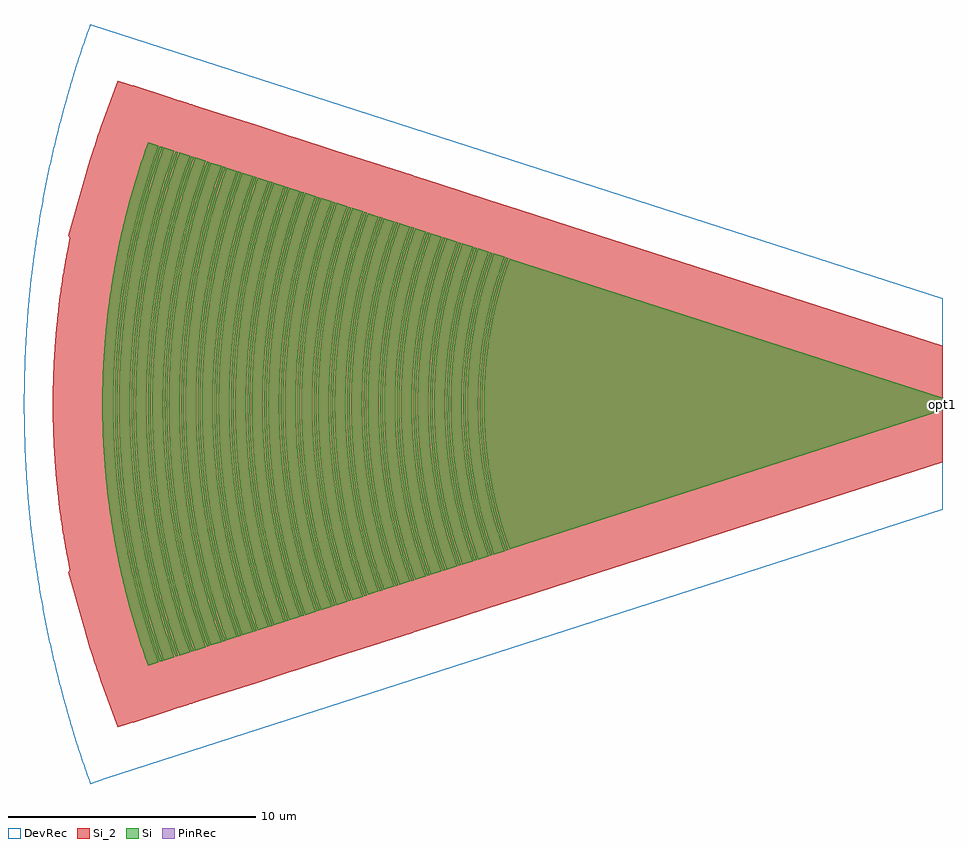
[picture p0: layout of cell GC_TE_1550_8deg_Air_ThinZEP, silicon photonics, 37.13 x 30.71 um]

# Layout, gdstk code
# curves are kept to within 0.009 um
import gdstk
lib = gdstk.Library(unit=1e-6, precision=1e-09)
def P(c, l, *ps):  # polygons
    for p in ps: c.add(gdstk.Polygon(p, *l))
Si = (1, 0)
Si_2 = (1, 2)
PinRec = (1, 10)
DevRec = (68, 0)

gc_te_1550_8deg_air_thin = lib.new_cell('GC_TE_1550_8deg_Air_ThinZEP')
P(gc_te_1550_8deg_air_thin, Si, [(-17.501,-5.877),(-17.778,-5.062),(-17.99,-4.323),(-18.144,-3.687),(-18.273,-3.046),(-18.388,-2.323),(-18.479,-1.52),(-18.527,-0.828),(-18.547,-0.058),(-18.532,0.713),(-18.486,1.443),(-18.388,2.323),(-18.273,3.046),(-18.144,3.687),(-17.99,4.323),(-17.778,5.062),(-17.501,5.877),(0,0.25),(0,-0.25)],
  [(-17.661,-5.928),(-17.927,-5.145),(-18.133,-4.437),(-18.316,-3.682),(-18.454,-2.983),(-18.559,-2.306),(-18.649,-1.495),(-18.694,-0.836),(-18.714,-0.097),(-18.705,0.564),(-18.659,1.378),(-18.584,2.113),(-18.454,2.983),(-18.316,3.682),(-18.133,4.437),(-17.927,5.145),(-17.661,5.928),(-17.545,5.891),(-17.823,5.073),(-18.045,4.295),(-18.213,3.583),(-18.358,2.824),(-18.459,2.137),(-18.535,1.407),(-18.575,0.791),(-18.593,0.097),(-18.584,-0.559),(-18.55,-1.216),(-18.499,-1.792),(-18.412,-2.482),(-18.26,-3.356),(-18.083,-4.147),(-17.846,-4.999),(-17.545,-5.891)],
  [(-18.137,-6.081),(-18.384,-5.359),(-18.609,-4.594),(-18.773,-3.937),(-18.947,-3.078),(-19.063,-2.328),(-19.143,-1.614),(-19.2,-0.779),(-19.217,-0.06),(-19.2,0.779),(-19.157,1.455),(-19.063,2.328),(-18.947,3.078),(-18.773,3.937),(-18.609,4.594),(-18.384,5.359),(-18.137,6.081),(-17.702,5.941),(-17.97,5.155),(-18.156,4.521),(-18.334,3.805),(-18.489,3.042),(-18.599,2.35),(-18.688,1.575),(-18.74,0.837),(-18.76,0.098),(-18.745,-0.72),(-18.695,-1.498),(-18.599,-2.35),(-18.496,-3.003),(-18.351,-3.729),(-18.166,-4.484),(-17.97,-5.155),(-17.702,-5.941)],
  [(-18.296,-6.132),(-18.557,-5.367),(-18.75,-4.712),(-18.963,-3.853),(-19.098,-3.184),(-19.229,-2.349),(-19.306,-1.668),(-19.365,-0.826),(-19.384,-0.101),(-19.367,0.785),(-19.317,1.548),(-19.229,2.349),(-19.119,3.065),(-18.963,3.853),(-18.771,4.634),(-18.557,5.367),(-18.296,6.132),(-18.181,6.095),(-18.477,5.218),(-18.675,4.527),(-18.861,3.751),(-19.026,2.887),(-19.134,2.135),(-19.203,1.459),(-19.246,0.78),(-19.263,0.1),(-19.255,-0.54),(-19.221,-1.219),(-19.148,-2.016),(-19.051,-2.73),(-18.886,-3.634),(-18.675,-4.527),(-18.477,-5.218),(-18.181,-6.095)],
  [(-18.772,-6.285),(-19.05,-5.467),(-19.29,-4.635),(-19.472,-3.873),(-19.593,-3.266),(-19.733,-2.369),(-19.818,-1.588),(-19.871,-0.765),(-19.887,-0.062),(-19.871,0.765),(-19.818,1.588),(-19.733,2.369),(-19.593,3.266),(-19.472,3.873),(-19.29,4.635),(-19.05,5.467),(-18.772,6.285),(-18.337,6.145),(-18.563,5.493),(-18.783,4.761),(-18.97,4.02),(-19.135,3.23),(-19.252,2.514),(-19.344,1.752),(-19.403,0.988),(-19.43,0.101),(-19.418,-0.665),(-19.376,-1.391),(-19.309,-2.073),(-19.184,-2.952),(-19.015,-3.823),(-18.815,-4.644),(-18.563,-5.493),(-18.337,-6.145)],
  [(-18.931,-6.336),(-19.198,-5.553),(-19.442,-4.714),(-19.6,-4.068),(-19.758,-3.294),(-19.888,-2.471),(-19.982,-1.643),(-20.039,-0.771),(-20.055,-0.104),(-20.044,0.646),(-19.996,1.477),(-19.899,2.389),(-19.787,3.13),(-19.645,3.865),(-19.442,4.714),(-19.198,5.553),(-18.931,6.336),(-18.816,6.299),(-19.107,5.44),(-19.335,4.645),(-19.517,3.882),(-19.701,2.905),(-19.789,2.292),(-19.871,1.51),(-19.919,0.724),(-19.933,0.104),(-19.919,-0.724),(-19.871,-1.51),(-19.814,-2.086),(-19.714,-2.824),(-19.568,-3.639),(-19.335,-4.645),(-19.107,-5.44),(-18.816,-6.299)],
  [(-19.407,-6.49),(-19.679,-5.691),(-19.929,-4.833),(-20.111,-4.087),(-20.254,-3.376),(-20.376,-2.618),(-20.483,-1.684),(-20.545,-0.705),(-20.558,-0.064),(-20.545,0.705),(-20.483,1.684),(-20.393,2.491),(-20.284,3.208),(-20.111,4.087),(-19.929,4.833),(-19.679,5.691),(-19.407,6.49),(-18.972,6.35),(-19.266,5.484),(-19.496,4.684),(-19.706,3.792),(-19.817,3.218),(-19.945,2.394),(-20.02,1.731),(-20.073,1.022),(-20.101,0.104),(-20.087,-0.73),(-20.031,-1.606),(-19.945,-2.394),(-19.817,-3.218),(-19.706,-3.792),(-19.496,-4.684),(-19.266,-5.484),(-18.972,-6.35)],
  [(-19.566,-6.541),(-19.787,-5.902),(-20.07,-4.955),(-20.256,-4.204),(-20.419,-3.404),(-20.559,-2.511),(-20.657,-1.612),(-20.712,-0.711),(-20.725,-0.108),(-20.712,0.711),(-20.657,1.612),(-20.57,2.426),(-20.449,3.235),(-20.284,4.078),(-20.07,4.955),(-19.787,5.902),(-19.566,6.541),(-19.451,6.504),(-19.737,5.662),(-20.018,4.677),(-20.218,3.803),(-20.371,2.962),(-20.476,2.199),(-20.55,1.433),(-20.591,0.706),(-20.604,0.107),(-20.591,-0.706),(-20.55,-1.433),(-20.476,-2.199),(-20.371,-2.962),(-20.218,-3.803),(-20.018,-4.677),(-19.737,-5.662),(-19.451,-6.504)],
  [(-20.043,-6.694),(-20.308,-5.919),(-20.579,-4.99),(-20.776,-4.177),(-20.922,-3.443),(-21.04,-2.703),(-21.134,-1.916),(-21.203,-0.992),(-21.228,-0.066),(-21.211,0.816),(-21.158,1.651),(-21.058,2.572),(-20.945,3.313),(-20.776,4.177),(-20.579,4.99),(-20.308,5.919),(-20.043,6.694),(-19.607,6.554),(-19.843,5.872),(-20.102,5.006),(-20.318,4.129),(-20.471,3.368),(-20.61,2.473),(-20.699,1.659),(-20.754,0.798),(-20.771,0.108),(-20.758,-0.711),(-20.699,-1.659),(-20.61,-2.473),(-20.486,-3.283),(-20.318,-4.129),(-20.102,-5.006),(-19.843,-5.872),(-19.607,-6.554)],
  [(-20.202,-6.745),(-20.495,-5.882),(-20.73,-5.072),(-20.93,-4.253),(-21.087,-3.47),(-21.218,-2.636),(-21.313,-1.798),(-21.372,-0.956),(-21.395,-0.111),(-21.383,0.689),(-21.332,1.576),(-21.241,2.46),(-21.11,3.339),(-20.93,4.253),(-20.73,5.072),(-20.495,5.882),(-20.202,6.745),(-20.087,6.708),(-20.353,5.931),(-20.613,5.043),(-20.83,4.143),(-21.019,3.146),(-21.126,2.402),(-21.204,1.655),(-21.251,0.95),(-21.274,0.111),(-21.259,-0.773),(-21.218,-1.479),(-21.147,-2.226),(-21.047,-2.971),(-20.83,-4.143),(-20.613,-5.043),(-20.353,-5.931),(-20.087,-6.708)],
  [(-20.678,-6.898),(-20.949,-6.105),(-21.229,-5.148),(-21.412,-4.397),(-21.587,-3.526),(-21.704,-2.788),(-21.818,-1.794),(-21.872,-1.023),(-21.898,-0.068),(-21.884,0.75),(-21.822,1.749),(-21.74,2.518),(-21.587,3.526),(-21.412,4.397),(-21.229,5.148),(-20.949,6.105),(-20.678,6.898),(-20.243,6.758),(-20.511,5.977),(-20.739,5.211),(-20.964,4.305),(-21.139,3.433),(-21.257,2.686),(-21.346,1.934),(-21.418,0.957),(-21.441,0.111),(-21.426,-0.779),(-21.374,-1.624),(-21.269,-2.598),(-21.139,-3.433),(-20.964,-4.305),(-20.739,-5.211),(-20.511,-5.977),(-20.243,-6.758)],
  [(-20.837,-6.949),(-21.123,-6.11),(-21.403,-5.143),(-21.595,-4.342),(-21.731,-3.669),(-21.876,-2.764),(-21.976,-1.899),(-22.039,-1.031),(-22.065,-0.115),(-22.051,0.756),(-22,1.625),(-21.906,2.537),(-21.771,3.443),(-21.605,4.297),(-21.403,5.143),(-21.123,6.11),(-20.837,6.949),(-20.722,6.912),(-20.994,6.118),(-21.274,5.158),(-21.486,4.273),(-21.674,3.289),(-21.791,2.478),(-21.883,1.571),(-21.93,0.752),(-21.944,0.114),(-21.93,-0.752),(-21.883,-1.571),(-21.791,-2.478),(-21.674,-3.289),(-21.486,-4.273),(-21.274,-5.158),(-20.994,-6.118),(-20.722,-6.912)],
  [(-21.313,-7.102),(-21.604,-6.249),(-21.854,-5.396),(-22.067,-4.532),(-22.251,-3.615),(-22.387,-2.735),(-22.477,-1.942),(-22.548,-0.914),(-22.568,-0.07),(-22.548,0.914),(-22.481,1.896),(-22.387,2.735),(-22.251,3.615),(-22.067,4.532),(-21.854,5.396),(-21.604,6.249),(-21.313,7.102),(-20.878,6.963),(-21.152,6.164),(-21.387,5.374),(-21.609,4.484),(-21.775,3.676),(-21.921,2.77),(-22.026,1.857),(-22.085,1.033),(-22.111,0.115),(-22.097,-0.757),(-22.042,-1.675),(-21.957,-2.496),(-21.831,-3.359),(-21.639,-4.351),(-21.423,-5.241),(-21.166,-6.12),(-20.878,-6.963)],
  [(-21.472,-7.154),(-21.736,-6.385),(-22.016,-5.436),(-22.241,-4.52),(-22.424,-3.595),(-22.553,-2.755),(-22.652,-1.863),(-22.715,-0.921),(-22.735,-0.118),(-22.719,0.826),(-22.668,1.675),(-22.577,2.568),(-22.424,3.595),(-22.241,4.52),(-22.016,5.436),(-21.736,6.385),(-21.472,7.154),(-21.358,7.117),(-21.691,6.126),(-21.959,5.179),(-22.142,4.404),(-22.328,3.436),(-22.468,2.46),(-22.535,1.807),(-22.592,0.962),(-22.614,0.118),(-22.598,-0.822),(-22.551,-1.619),(-22.468,-2.46),(-22.358,-3.25),(-22.171,-4.266),(-21.959,-5.179),(-21.691,-6.126),(-21.358,-7.117)],
  [(-21.948,-7.307),(-22.216,-6.526),(-22.515,-5.509),(-22.743,-4.573),(-22.903,-3.769),(-23.058,-2.768),(-23.153,-1.904),(-23.213,-1.038),(-23.238,-0.072),(-23.213,1.038),(-23.153,1.904),(-23.058,2.768),(-22.928,3.627),(-22.743,4.573),(-22.515,5.509),(-22.216,6.526),(-21.948,7.307),(-21.513,7.167),(-21.793,6.351),(-22.035,5.537),(-22.274,4.575),(-22.452,3.694),(-22.598,2.76),(-22.702,1.819),(-22.761,0.922),(-22.781,0.118),(-22.765,-0.828),(-22.702,-1.819),(-22.598,-2.76),(-22.452,-3.694),(-22.274,-4.575),(-22.035,-5.537),(-21.793,-6.351),(-21.513,-7.167)],
  [(-22.108,-7.358),(-22.391,-6.527),(-22.639,-5.69),(-22.875,-4.748),(-23.068,-3.796),(-23.224,-2.788),(-23.324,-1.869),(-23.382,-0.997),(-23.405,-0.121),(-23.392,0.753),(-23.332,1.773),(-23.224,2.788),(-23.093,3.653),(-22.917,4.558),(-22.677,5.549),(-22.391,6.527),(-22.108,7.358),(-21.992,7.321),(-22.305,6.399),(-22.585,5.426),(-22.828,4.393),(-23.013,3.395),(-23.122,2.629),(-23.211,1.764),(-23.259,1.039),(-23.284,0.121),(-23.271,-0.749),(-23.23,-1.522),(-23.161,-2.293),(-23.028,-3.3),(-22.828,-4.393),(-22.585,-5.426),(-22.305,-6.399),(-21.992,-7.321)],
  [(-22.584,-7.511),(-22.901,-6.572),(-23.19,-5.573),(-23.388,-4.753),(-23.572,-3.829),(-23.729,-2.799),(-23.825,-1.91),(-23.889,-0.919),(-23.908,-0.074),(-23.889,0.919),(-23.825,1.91),(-23.729,2.799),(-23.589,3.732),(-23.388,4.753),(-23.19,5.573),(-22.901,6.572),(-22.584,7.511),(-22.149,7.371),(-22.434,6.538),(-22.683,5.7),(-22.929,4.709),(-23.112,3.803),(-23.243,2.986),(-23.361,1.97),(-23.421,1.144),(-23.451,0.122),(-23.428,-0.998),(-23.361,-1.97),(-23.269,-2.793),(-23.129,-3.707),(-22.971,-4.519),(-22.721,-5.559),(-22.434,-6.538),(-22.149,-7.371)],
  [(-22.743,-7.562),(-23.047,-6.666),(-23.327,-5.708),(-23.53,-4.884),(-23.737,-3.856),(-23.882,-2.917),(-23.987,-1.973),(-24.049,-1.075),(-24.075,-0.125),(-24.058,0.875),(-24,1.823),(-23.895,2.818),(-23.754,3.758),(-23.573,4.689),(-23.327,5.708),(-23.047,6.666),(-22.743,7.562),(-22.628,7.524),(-22.976,6.489),(-23.26,5.486),(-23.485,4.519),(-23.683,3.444),(-23.805,2.557),(-23.875,1.864),(-23.935,0.92),(-23.954,0.124),(-23.939,-0.82),(-23.891,-1.666),(-23.805,-2.557),(-23.683,-3.444),(-23.485,-4.519),(-23.26,-5.486),(-22.976,-6.489),(-22.628,-7.524)],
  [(-23.219,-7.715),(-23.528,-6.805),(-23.852,-5.68),(-24.076,-4.737),(-24.25,-3.836),(-24.407,-2.776),(-24.497,-1.912),(-24.556,-0.996),(-24.578,-0.077),(-24.556,0.996),(-24.497,1.912),(-24.407,2.776),(-24.25,3.836),(-24.076,4.737),(-23.852,5.68),(-23.528,6.805),(-23.219,7.715),(-22.784,7.575),(-23.12,6.582),(-23.37,5.718),(-23.606,4.746),(-23.79,3.813),(-23.934,2.873),(-24.037,1.927),(-24.095,1.077),(-24.121,0.125),(-24.102,-0.926),(-24.037,-1.927),(-23.934,-2.873),(-23.79,-3.813),(-23.606,-4.746),(-23.37,-5.718),(-23.12,-6.582),(-22.784,-7.575)],
  [(-23.378,-7.766),(-23.673,-6.901),(-23.935,-6.015),(-24.196,-4.97),(-24.37,-4.115),(-24.526,-3.151),(-24.65,-2.079),(-24.723,-1.003),(-24.745,-0.128),(-24.733,0.745),(-24.668,1.874),(-24.56,2.897),(-24.406,3.913),(-24.24,4.769),(-24.002,5.768),(-23.719,6.754),(-23.378,7.766),(-23.263,7.729),(-23.573,6.817),(-23.91,5.64),(-24.152,4.596),(-24.337,3.591),(-24.465,2.679),(-24.543,1.916),(-24.6,1.048),(-24.624,0.128),(-24.612,-0.741),(-24.563,-1.661),(-24.471,-2.628),(-24.353,-3.49),(-24.152,-4.596),(-23.91,-5.64),(-23.573,-6.817),(-23.263,-7.729)],
  [(-23.854,-7.919),(-24.185,-6.94),(-24.462,-5.986),(-24.71,-4.968),(-24.884,-4.096),(-25.017,-3.267),(-25.151,-2.121),(-25.223,-1.075),(-25.248,-0.079),(-25.23,0.918),(-25.151,2.121),(-25.017,3.267),(-24.884,4.096),(-24.71,4.968),(-24.462,5.986),(-24.185,6.94),(-23.854,7.919),(-23.419,7.78),(-23.7,6.96),(-24.006,5.926),(-24.239,4.979),(-24.442,3.97),(-24.592,3.004),(-24.705,1.981),(-24.769,1.004),(-24.791,0.129),(-24.769,-1.004),(-24.705,-1.981),(-24.592,-3.004),(-24.442,-3.97),(-24.239,-4.979),(-24.006,-5.926),(-23.7,-6.96),(-23.419,-7.78)],
  [(-24.013,-7.97),(-24.298,-7.138),(-24.625,-6.026),(-24.851,-5.104),(-25.058,-4.071),(-25.225,-2.975),(-25.327,-2.03),(-25.39,-1.082),(-25.415,-0.079),(-25.397,0.924),(-25.327,2.03),(-25.225,2.975),(-25.058,4.071),(-24.851,5.104),(-24.625,6.026),(-24.298,7.138),(-24.013,7.97),(-23.898,7.934),(-24.292,6.752),(-24.561,5.793),(-24.82,4.669),(-24.991,3.739),(-25.118,2.856),(-25.215,1.916),(-25.274,0.972),(-25.294,0.079),(-25.28,-0.814),(-25.239,-1.602),(-25.16,-2.491),(-25.016,-3.584),(-24.82,-4.669),(-24.561,-5.793),(-24.292,-6.752),(-23.898,-7.934)],
  [(-24.489,-8.123),(-24.778,-7.279),(-25.112,-6.145),(-25.354,-5.153),(-25.563,-4.098),(-25.731,-2.981),(-25.828,-2.07),(-25.895,-1.05),(-25.918,-0.081),(-25.895,1.05),(-25.828,2.07),(-25.731,2.981),(-25.563,4.098),(-25.354,5.153),(-25.112,6.145),(-24.778,7.279),(-24.489,8.123),(-24.055,7.984),(-24.404,6.948),(-24.641,6.138),(-24.906,5.062),(-25.093,4.129),(-25.235,3.242),(-25.368,2.087),(-25.436,1.084),(-25.461,0.132),(-25.443,-0.925),(-25.368,-2.087),(-25.235,-3.242),(-25.093,-4.129),(-24.906,-5.062),(-24.641,-6.138),(-24.404,-6.948),(-24.055,-7.984)],
  [(-24.648,-8.175),(-24.971,-7.223),(-25.288,-6.133),(-25.541,-5.08),(-25.728,-4.125),(-25.876,-3.161),(-25.985,-2.192),(-26.057,-1.165),(-26.085,-0.081),(-26.062,1.057),(-25.999,2.03),(-25.897,3),(-25.728,4.125),(-25.541,5.08),(-25.288,6.133),(-24.971,7.223),(-24.648,8.175),(-24.533,8.138),(-24.888,7.085),(-25.198,5.999),(-25.433,5.004),(-25.653,3.839),(-25.783,2.932),(-25.883,1.967),(-25.941,1.051),(-25.964,0.081),(-25.941,-1.051),(-25.883,-1.967),(-25.783,-2.932),(-25.653,-3.839),(-25.433,-5.004),(-25.198,-5.999),(-24.888,-7.085),(-24.533,-8.138)],
  [(-25.124,-8.328),(-25.452,-7.361),(-25.789,-6.198),(-26.033,-5.178),(-26.214,-4.259),(-26.389,-3.113),(-26.505,-2.014),(-26.569,-0.967),(-26.588,-0.083),(-26.569,0.967),(-26.505,2.014),(-26.389,3.113),(-26.233,4.15),(-26.033,5.178),(-25.789,6.198),(-25.452,7.361),(-25.124,8.328),(-24.689,8.188),(-25.014,7.234),(-25.275,6.352),(-25.573,5.142),(-25.763,4.184),(-25.914,3.22),(-26.045,2.034),(-26.108,1.058),(-26.131,0.136),(-26.108,-1.058),(-26.054,-1.925),(-25.949,-2.951),(-25.791,-4.024),(-25.596,-5.036),(-25.345,-6.09),(-25.014,-7.234),(-24.689,-8.188)],
  [(-25.284,-8.379),(-25.629,-7.355),(-25.923,-6.344),(-26.161,-5.374),(-26.379,-4.286),(-26.548,-3.187),(-26.667,-2.082),(-26.736,-0.973),(-26.755,-0.083),(-26.736,0.973),(-26.667,2.082),(-26.548,3.187),(-26.379,4.286),(-26.161,5.374),(-25.923,6.344),(-25.629,7.355),(-25.284,8.379),(-25.168,8.342),(-25.497,7.373),(-25.806,6.314),(-26.101,5.079),(-26.315,3.939),(-26.462,2.898),(-26.546,2.073),(-26.608,1.134),(-26.634,0.083),(-26.615,-0.968),(-26.564,-1.852),(-26.462,-2.898),(-26.315,-3.939),(-26.101,-5.079),(-25.806,-6.314),(-25.497,-7.373),(-25.168,-8.342)],
  [(-25.759,-8.532),(-26.076,-7.602),(-26.41,-6.463),(-26.677,-5.364),(-26.894,-4.255),(-27.054,-3.191),(-27.168,-2.121),(-27.236,-1.048),(-27.258,-0.085),(-27.236,1.048),(-27.168,2.121),(-27.054,3.191),(-26.894,4.255),(-26.677,5.364),(-26.41,6.463),(-26.076,7.602),(-25.759,8.532),(-25.324,8.392),(-25.672,7.366),(-25.923,6.515),(-26.18,5.49),(-26.404,4.401),(-26.563,3.413),(-26.698,2.251),(-26.772,1.196),(-26.801,0.139),(-26.782,-0.974),(-26.722,-1.975),(-26.593,-3.192),(-26.433,-4.237),(-26.264,-5.111),(-25.981,-6.3),(-25.672,-7.366),(-25.324,-8.392)],
  [(-25.918,-8.583),(-26.202,-7.757),(-26.587,-6.448),(-26.853,-5.342),(-27.069,-4.225),(-27.22,-3.211),(-27.344,-2.021),(-27.403,-1.054),(-27.425,-0.085),(-27.403,1.054),(-27.344,2.021),(-27.22,3.211),(-27.069,4.225),(-26.853,5.342),(-26.587,6.448),(-26.202,7.757),(-25.918,8.583),(-25.803,8.546),(-26.189,7.397),(-26.484,6.364),(-26.769,5.152),(-26.977,4.037),(-27.127,2.971),(-27.214,2.125),(-27.282,1.049),(-27.304,0.085),(-27.282,-1.049),(-27.228,-1.955),(-27.134,-2.914),(-26.995,-3.926),(-26.769,-5.152),(-26.484,-6.364),(-26.189,-7.397),(-25.803,-8.546)],
  [(-26.395,-8.736),(-26.752,-7.678),(-27.074,-6.566),(-27.295,-5.666),(-27.525,-4.53),(-27.704,-3.384),(-27.831,-2.231),(-27.903,-1.132),(-27.928,-0.087),(-27.908,1.016),(-27.836,2.173),(-27.719,3.269),(-27.565,4.301),(-27.345,5.44),(-27.074,6.566),(-26.752,7.678),(-26.395,8.736),(-25.959,8.596),(-26.262,7.713),(-26.601,6.568),(-26.872,5.462),(-27.064,4.511),(-27.235,3.442),(-27.36,2.364),(-27.444,1.169),(-27.471,0.143),(-27.449,-1.055),(-27.39,-2.024),(-27.258,-3.272),(-27.094,-4.343),(-26.872,-5.462),(-26.601,-6.568),(-26.262,-7.713),(-25.959,-8.596)],
  [(-26.553,-8.787),(-26.93,-7.669),(-27.221,-6.662),(-27.484,-5.586),(-27.69,-4.558),(-27.87,-3.405),(-27.987,-2.361),(-28.07,-1.138),(-28.095,-0.088),(-28.075,1.022),(-28.012,2.07),(-27.885,3.289),(-27.73,4.328),(-27.509,5.472),(-27.266,6.493),(-26.93,7.669),(-26.553,8.787),(-26.439,8.75),(-26.831,7.58),(-27.163,6.408),(-27.438,5.221),(-27.639,4.136),(-27.8,2.986),(-27.896,2.003),(-27.954,1.016),(-27.974,0.087),(-27.954,-1.016),(-27.896,-2.003),(-27.8,-2.986),(-27.648,-4.08),(-27.438,-5.221),(-27.163,-6.408),(-26.831,-7.58),(-26.439,-8.75)],
  [(-27.03,-8.94),(-27.358,-7.976),(-27.723,-6.724),(-28.001,-5.57),(-28.196,-4.581),(-28.384,-3.348),(-28.488,-2.403),(-28.567,-1.277),(-28.598,-0.089),(-28.575,1.099),(-28.488,2.403),(-28.384,3.348),(-28.196,4.581),(-28.001,5.57),(-27.723,6.724),(-27.358,7.976),(-27.03,8.94),(-26.595,8.801),(-26.938,7.79),(-27.219,6.84),(-27.502,5.709),(-27.724,4.621),(-27.915,3.41),(-28.038,2.306),(-28.116,1.139),(-28.141,0.146),(-28.121,-1.023),(-28.058,-2.074),(-27.952,-3.12),(-27.774,-4.334),(-27.577,-5.367),(-27.324,-6.446),(-26.973,-7.679),(-26.595,-8.801)],
  [(-27.189,-8.991),(-27.572,-7.851),(-27.901,-6.705),(-28.165,-5.603),(-28.371,-4.549),(-28.55,-3.368),(-28.66,-2.357),(-28.734,-1.285),(-28.765,-0.09),(-28.742,1.106),(-28.66,2.357),(-28.55,3.368),(-28.371,4.549),(-28.165,5.603),(-27.901,6.705),(-27.572,7.851),(-27.189,8.991),(-27.074,8.954),(-27.421,7.93),(-27.738,6.848),(-28.058,5.521),(-28.301,4.235),(-28.459,3.117),(-28.564,2.051),(-28.626,0.981),(-28.644,0.089),(-28.626,-0.981),(-28.564,-2.051),(-28.459,-3.117),(-28.301,-4.235),(-28.058,-5.521),(-27.738,-6.848),(-27.421,-7.93),(-27.074,-8.954)],
  [(-27.664,-9.144),(-27.999,-8.162),(-28.373,-6.881),(-28.657,-5.701),(-28.867,-4.628),(-29.041,-3.487),(-29.161,-2.399),(-29.242,-1.186),(-29.268,-0.091),(-29.242,1.186),(-29.161,2.399),(-29.041,3.487),(-28.867,4.628),(-28.657,5.701),(-28.373,6.881),(-27.999,8.162),(-27.664,9.144),(-27.23,9.005),(-27.615,7.862),(-27.914,6.83),(-28.221,5.553),(-28.405,4.614),(-28.595,3.372),(-28.711,2.302),(-28.78,1.286),(-28.811,0.15),(-28.793,-0.987),(-28.726,-2.123),(-28.61,-3.254),(-28.436,-4.437),(-28.221,-5.553),(-27.914,-6.83),(-27.615,-7.862),(-27.23,-9.005)],
  [(-27.824,-9.196),(-28.196,-8.093),(-28.504,-7.039),(-28.808,-5.793),(-29.032,-4.655),(-29.191,-3.628),(-29.322,-2.473),(-29.409,-1.193),(-29.435,-0.092),(-29.414,1.071),(-29.338,2.291),(-29.215,3.446),(-29.032,4.655),(-28.808,5.793),(-28.504,7.039),(-28.196,8.093),(-27.824,9.196),(-27.709,9.159),(-27.95,8.463),(-28.152,7.827),(-28.464,6.715),(-28.727,5.591),(-28.953,4.395),(-29.102,3.371),(-29.212,2.342),(-29.288,1.187),(-29.314,0.091),(-29.293,-1.065),(-29.237,-2.039),(-29.117,-3.25),(-28.982,-4.215),(-28.752,-5.471),(-28.464,-6.715),(-28.152,-7.827),(-27.95,-8.463),(-27.709,-9.159)],
  [(-28.3,-9.349),(-28.714,-8.112),(-29.054,-6.919),(-29.313,-5.831),(-29.517,-4.796),(-29.706,-3.566),(-29.834,-2.392),(-29.914,-1.151),(-29.938,-0.093),(-29.914,1.151),(-29.834,2.392),(-29.706,3.566),(-29.517,4.796),(-29.313,5.831),(-29.054,6.919),(-28.714,8.112),(-28.3,9.349),(-27.865,9.209),(-28.239,8.103),(-28.563,6.989),(-28.825,5.921),(-29.055,4.781),(-29.236,3.633),(-29.362,2.539),(-29.443,1.439),(-29.481,0.153),(-29.46,-1.071),(-29.389,-2.233),(-29.268,-3.39),(-29.087,-4.6),(-28.825,-5.921),(-28.563,-6.989),(-28.239,-8.103),(-27.865,-9.209)],
  [(-28.459,-9.4),(-28.819,-8.336),(-29.185,-7.078),(-29.477,-5.864),(-29.682,-4.822),(-29.872,-3.586),(-29.995,-2.467),(-30.081,-1.157),(-30.105,-0.094),(-30.081,1.157),(-30.006,2.343),(-29.88,3.524),(-29.714,4.638),(-29.477,5.864),(-29.185,7.078),(-28.819,8.336),(-28.459,9.4),(-28.344,9.363),(-28.759,8.124),(-29.083,6.989),(-29.29,6.144),(-29.422,5.536),(-29.614,4.496),(-29.775,3.386),(-29.885,2.334),(-29.96,1.152),(-29.984,0.094),(-29.965,-1.027),(-29.905,-2.085),(-29.79,-3.262),(-29.654,-4.25),(-29.422,-5.536),(-29.13,-6.808),(-28.759,-8.124),(-28.344,-9.363)],
  [(-28.935,-9.553),(-29.319,-8.414),(-29.655,-7.258),(-29.928,-6.148),(-30.155,-5.028),(-30.354,-3.772),(-30.496,-2.508),(-30.578,-1.304),(-30.608,-0.095),(-30.586,1.113),(-30.507,2.382),(-30.379,3.583),(-30.199,4.778),(-29.969,5.962),(-29.704,7.074),(-29.319,8.414),(-28.935,9.553),(-28.501,9.412),(-28.862,8.347),(-29.196,7.209),(-29.48,6.056),(-29.737,4.767),(-29.917,3.591),(-30.035,2.534),(-30.112,1.471),(-30.151,0.157),(-30.132,-1.033),(-30.062,-2.222),(-29.933,-3.467),(-29.748,-4.705),(-29.507,-5.934),(-29.196,-7.209),(-28.862,-8.347),(-28.501,-9.412)],
  [(-29.094,-9.604),(-29.441,-8.583),(-29.834,-7.236),(-30.133,-5.994),(-30.331,-4.993),(-30.545,-3.603),(-30.668,-2.459),(-30.753,-1.119),(-30.775,-0.096),(-30.753,1.119),(-30.679,2.331),(-30.561,3.476),(-30.386,4.677),(-30.133,5.994),(-29.834,7.236),(-29.441,8.583),(-29.094,9.604),(-28.979,9.567),(-29.383,8.367),(-29.717,7.206),(-30.027,5.908),(-30.177,5.16),(-30.297,4.47),(-30.448,3.399),(-30.553,2.386),(-30.624,1.305),(-30.654,0.096),(-30.637,-0.987),(-30.578,-2.068),(-30.463,-3.272),(-30.307,-4.408),(-30.177,-5.16),(-30.027,-5.908),(-29.717,-7.206),(-29.383,-8.367),(-28.979,-9.567)],
  [(-29.57,-9.757),(-29.941,-8.662),(-30.288,-7.479),(-30.583,-6.282),(-30.838,-5.01),(-31.027,-3.791),(-31.169,-2.499),(-31.253,-1.202),(-31.278,-0.097),(-31.253,1.202),(-31.169,2.499),(-31.027,3.791),(-30.838,5.01),(-30.583,6.282),(-30.288,7.479),(-29.941,8.662),(-29.57,9.757),(-29.135,9.617),(-29.484,8.594),(-29.828,7.431),(-30.149,6.128),(-30.387,4.936),(-30.565,3.798),(-30.714,2.463),(-30.791,1.312),(-30.821,0.16),(-30.804,-0.992),(-30.73,-2.271),(-30.59,-3.608),(-30.409,-4.81),(-30.19,-5.941),(-29.894,-7.184),(-29.598,-8.229),(-29.365,-8.958),(-29.135,-9.617)],
  [(-29.729,-9.808),(-30.121,-8.646),(-30.467,-7.456),(-30.775,-6.189),(-31.003,-5.037),(-31.193,-3.811),(-31.33,-2.577),(-31.411,-1.405),(-31.445,-0.098),(-31.42,1.209),(-31.347,2.382),(-31.193,3.811),(-31.003,5.037),(-30.775,6.189),(-30.467,7.456),(-30.121,8.646),(-29.729,9.808),(-29.614,9.771),(-30.025,8.549),(-30.383,7.301),(-30.697,5.974),(-30.938,4.696),(-31.105,3.538),(-31.226,2.373),(-31.299,1.203),(-31.324,0.098),(-31.299,-1.203),(-31.226,-2.373),(-31.129,-3.344),(-30.959,-4.567),(-30.697,-5.974),(-30.383,-7.301),(-30.025,-8.549),(-29.614,-9.771)],
  [(-30.205,-9.961),(-30.622,-8.72),(-30.97,-7.512),(-31.238,-6.417),(-31.487,-5.183),(-31.682,-3.938),(-31.819,-2.751),(-31.91,-1.493),(-31.948,-0.1),(-31.925,1.162),(-31.837,2.552),(-31.7,3.806),(-31.51,5.052),(-31.281,6.223),(-30.97,7.512),(-30.622,8.72),(-30.205,9.961),(-29.77,9.821),(-30.203,8.532),(-30.527,7.403),(-30.79,6.325),(-31.036,5.108),(-31.238,3.816),(-31.369,2.647),(-31.457,1.406),(-31.491,0.164),(-31.471,-1.079),(-31.398,-2.321),(-31.255,-3.686),(-31.07,-4.914),(-30.846,-6.07),(-30.527,-7.403),(-30.203,-8.532),(-29.77,-9.821)],
  [(-30.364,-10.012),(-30.763,-8.829),(-31.15,-7.487),(-31.416,-6.386),(-31.652,-5.21),(-31.866,-3.826),(-31.991,-2.699),(-32.077,-1.501),(-32.115,-0.1),(-32.092,1.168),(-32.009,2.499),(-31.866,3.826),(-31.675,5.079),(-31.459,6.19),(-31.15,7.487),(-30.763,8.829),(-30.364,10.012),(-30.249,9.976),(-30.687,8.669),(-31.066,7.329),(-31.367,6.037),(-31.6,4.797),(-31.771,3.613),(-31.894,2.424),(-31.971,1.163),(-31.994,0.1),(-31.971,-1.163),(-31.894,-2.424),(-31.771,-3.613),(-31.6,-4.797),(-31.367,-6.037),(-31.066,-7.329),(-30.687,-8.669),(-30.249,-9.976)],
  [(-30.841,-10.166),(-31.264,-8.903),(-31.62,-7.669),(-31.908,-6.486),(-32.16,-5.222),(-32.365,-3.886),(-32.492,-2.741),(-32.586,-1.389),(-32.618,-0.102),(-32.589,1.322),(-32.516,2.471),(-32.365,3.886),(-32.16,5.222),(-31.908,6.486),(-31.62,7.669),(-31.264,8.903),(-30.841,10.166),(-30.406,10.026),(-30.806,8.841),(-31.142,7.689),(-31.445,6.46),(-31.708,5.151),(-31.92,3.765),(-32.037,2.703),(-32.123,1.503),(-32.161,0.167),(-32.138,-1.169),(-32.055,-2.503),(-31.92,-3.765),(-31.731,-5.019),(-31.474,-6.329),(-31.176,-7.561),(-30.806,-8.841),(-30.406,-10.026)],
  [(-30.999,-10.217),(-31.425,-8.95),(-31.782,-7.709),(-32.086,-6.453),(-32.336,-5.185),(-32.531,-3.906),(-32.659,-2.755),(-32.753,-1.396),(-32.785,-0.102),(-32.759,1.26),(-32.677,2.551),(-32.531,3.906),(-32.336,5.185),(-32.086,6.453),(-31.782,7.709),(-31.425,8.95),(-30.999,10.217),(-30.884,10.18),(-31.269,9.044),(-31.648,7.745),(-31.846,6.956),(-32.01,6.23),(-32.168,5.431),(-32.294,4.697),(-32.428,3.756),(-32.562,2.475),(-32.638,1.255),(-32.664,0.102),(-32.648,-0.983),(-32.578,-2.272),(-32.476,-3.352),(-32.294,-4.697),(-32.168,-5.431),(-32.01,-6.23),(-31.846,-6.956),(-31.648,-7.745),(-31.269,-9.044),(-30.884,-10.18)],
  [(-31.475,-10.37),(-31.865,-9.217),(-32.252,-7.893),(-32.533,-6.754),(-32.783,-5.536),(-33.002,-4.171),(-33.16,-2.797),(-33.252,-1.487),(-33.288,-0.104),(-33.264,1.211),(-33.184,2.522),(-33.03,3.966),(-32.855,5.128),(-32.593,6.484),(-32.252,7.893),(-31.865,9.217),(-31.475,10.37),(-31.041,10.23),(-31.468,8.96),(-31.826,7.718),(-32.115,6.528),(-32.392,5.124),(-32.567,3.979),(-32.698,2.826),(-32.799,1.398),(-32.831,0.171),(-32.805,-1.261),(-32.734,-2.419),(-32.585,-3.843),(-32.392,-5.124),(-32.115,-6.528),(-31.826,-7.718),(-31.468,-8.96),(-31.041,-10.23)],
  [(-31.635,-10.421),(-32.067,-9.132),(-32.45,-7.799),(-32.712,-6.72),(-32.96,-5.496),(-33.168,-4.192),(-33.32,-2.88),(-33.419,-1.494),(-33.455,-0.104),(-33.431,1.217),(-33.356,2.465),(-33.222,3.779),(-33.032,5.085),(-32.786,6.381),(-32.45,7.799),(-32.067,9.132),(-31.635,10.421),(-31.52,10.384),(-31.972,9.032),(-32.35,7.703),(-32.681,6.29),(-32.912,5.066),(-33.093,3.833),(-33.224,2.594),(-33.298,1.488),(-33.334,0.104),(-33.313,-1.142),(-33.241,-2.387),(-33.11,-3.696),(-32.945,-4.862),(-32.681,-6.29),(-32.35,-7.703),(-31.972,-9.032),(-31.52,-10.384)],
  [(-32.11,-10.574),(-32.485,-9.471),(-32.864,-8.188),(-33.188,-6.89),(-33.468,-5.509),(-33.676,-4.185),(-33.84,-2.713),(-33.921,-1.517),(-33.958,-0.106),(-33.939,1.094),(-33.902,1.869),(-33.84,2.713),(-33.676,4.185),(-33.48,5.44),(-33.248,6.615),(-32.955,7.848),(-32.569,9.202),(-32.332,9.939),(-32.11,10.574),(-31.676,10.434),(-32.11,9.143),(-32.493,7.809),(-32.74,6.797),(-33.017,5.434),(-33.232,4.06),(-33.372,2.815),(-33.465,1.496),(-33.501,0.174),(-33.48,-1.148),(-33.402,-2.469),(-33.25,-3.922),(-33.053,-5.228),(-32.815,-6.457),(-32.493,-7.809),(-32.11,-9.143),(-31.676,-10.434)])
P(gc_te_1550_8deg_air_thin, Si_2, [(-33.328,-13.068),(-34.032,-11.142),(-34.39,-10.081),(-34.673,-9.146),(-35.328,-6.8),(-35.27,-6.723),(-35.436,-5.866),(-35.584,-4.973),(-35.715,-4.007),(-35.806,-3.178),(-35.912,-1.757),(-35.951,-0.712),(-35.958,-0.12),(-35.951,0.712),(-35.919,1.616),(-35.819,3.037),(-35.715,4.007),(-35.584,4.973),(-35.436,5.866),(-35.27,6.723),(-35.328,6.8),(-34.673,9.146),(-34.39,10.081),(-34.032,11.142),(-33.328,13.068),(-29.55,11.853),(-27.743,11.287),(-27.737,11.274),(-24.08,10.094),(-21.392,9.245),(-21.384,9.229),(-20.903,9.073),(0,2.351),(0,-2.351),(-20.903,-9.073),(-21.384,-9.229),(-21.392,-9.245),(-24.08,-10.094),(-27.737,-11.274),(-27.743,-11.287),(-29.55,-11.853)])
P(gc_te_1550_8deg_air_thin, DevRec, [(-34.439,-15.353),(-34.985,-13.752),(-35.312,-12.676),(-35.534,-11.89),(-35.767,-10.999),(-36.005,-10.004),(-36.157,-9.305),(-36.411,-7.999),(-36.672,-6.383),(-36.792,-5.468),(-36.914,-4.346),(-37.016,-3.124),(-37.059,-2.407),(-37.11,-1.076),(-37.123,-0.155),(-37.091,1.692),(-37.016,3.124),(-36.96,3.838),(-36.861,4.859),(-36.727,5.977),(-36.464,7.697),(-36.157,9.305),(-35.959,10.204),(-35.666,11.395),(-35.369,12.481),(-34.985,13.752),(-34.439,15.353),(0,4.281),(0,-4.281)])
gc_te_1550_8deg_air_thin.add(gdstk.FlexPath([(-0.01,0),(0.01,0)], 0.5, ends="flush", simple_path=True, layer=1, datatype=10))  # PinRec
gc_te_1550_8deg_air_thin.add(gdstk.Label('opt1', (0,0), layer=1, texttype=10))

lib.write_gds('GC_TE_1550_8deg_Air_ThinZEP.gds')
